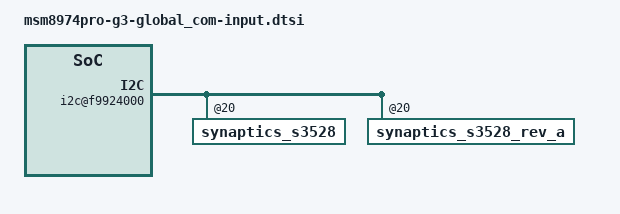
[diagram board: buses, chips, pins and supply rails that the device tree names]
/* Copyright (c) 2012, Code Aurora Forum. All rights reserved.
 *
 * This program is free software; you can redistribute it and/or modify
 * it under the terms of the GNU General Public License version 2 and
 * only version 2 as published by the Free Software Foundation.
 *
 * This program is distributed in the hope that it will be useful,
 * but WITHOUT ANY WARRANTY; without even the implied warranty of
 * MERCHANTABILITY or FITNESS FOR A PARTICULAR PURPOSE.  See the
 * GNU General Public License for more details.
 */


	&soc {
		 i2c@f9924000 {
		       	rmi_s3528@20  {
				status = "disable";
			};

			synaptics_s3528@20 {
				status = "ok";
				revision = "evb1...evb2";
				fw_image_s3528_a0 = "synaptics/g3_global_com/PLG313-V1.06-PR1650170-DS5.5.1.0.1066_30055186_S3528A0.img";
				fw_image_s3528_a1 = "synaptics/g3_global_com/PLG313-V1.26-PR1701943-DS5.5.1.0.1066_3005519A.img";
				fw_image_s3528_a1_suntel = "synaptics/g3_global_com/PLG391-V1.08-PR1701943-DS5.5.1.0.1066_10055188.img";
				fw_image_s3528_a1_factory = "synaptics/g3_global_com/PLG313-V1.22-PR1653201-DS5.5.1.0.1066_30055196_S3528A1.img";
				fw_image_s3621 = "synaptics/g3_global_com/PLG298-F004.img";
				panel_spec = "synaptics/g3_global_com/g3_global_com_limit.txt";
			};
			
			synaptics_s3528_rev_a@20 {
				status = "ok";
				revision = "rev_a...";
				fw_image_s3528_a0 = "synaptics/g3_global_com/PLG313-V1.06-PR1650170-DS5.5.1.0.1066_30055186_S3528A0.img";
				fw_image_s3528_a1 = "synaptics/g3_global_com/PLG313-V1.26-PR1701943-DS5.5.1.0.1066_3005519A.img";
				fw_image_s3528_a1_suntel = "synaptics/g3_global_com/PLG391-V1.08-PR1701943-DS5.5.1.0.1066_10055188.img";
				fw_image_s3528_a1_factory = "synaptics/g3_global_com/PLG313-V1.22-PR1653201-DS5.5.1.0.1066_30055196_S3528A1.img";
				fw_image_s3621 = "synaptics/g3_global_com/PLG298-F004.img";
				panel_spec = "synaptics/g3_global_com/g3_global_com_limit.txt";
		};
	};
};
